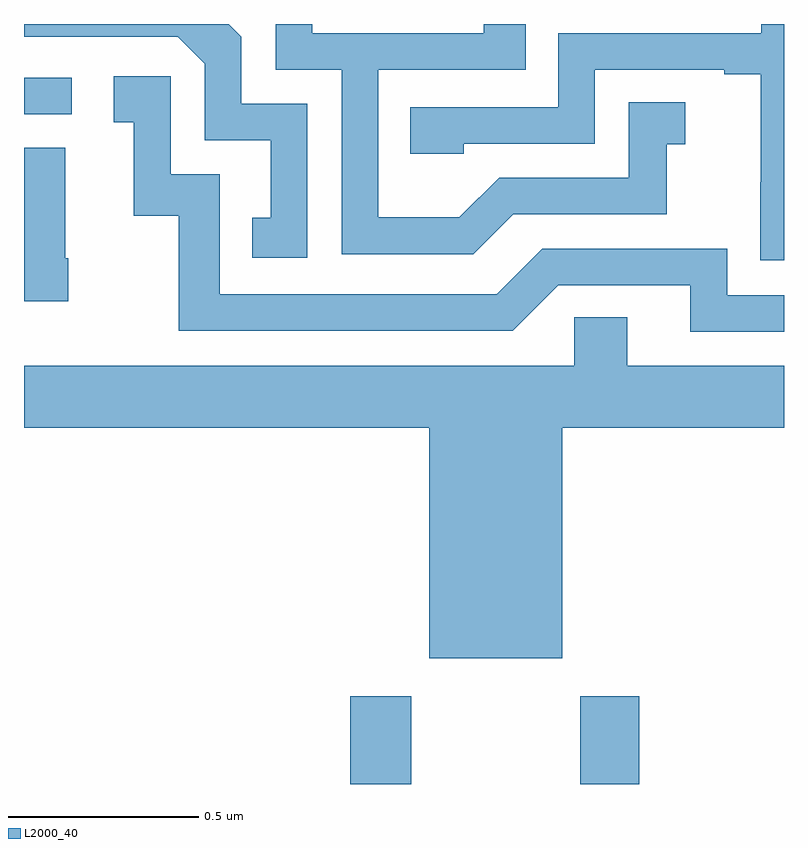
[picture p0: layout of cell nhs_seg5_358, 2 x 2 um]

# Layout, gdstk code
import gdstk
lib = gdstk.Library(unit=1e-6, precision=1e-09)
def R(c, l, rs):  # rectangles x0, y0, x1, y1
    for r in rs: c.add(gdstk.rectangle(r[:2], r[2:], *l))
def P(c, l, *ps):  # polygons
    for p in ps: c.add(gdstk.Polygon(p, *l))
L2000_40 = (2000, 40)

nhs_seg5_358 = lib.new_cell('nhs_seg5_358')
R(nhs_seg5_358, L2000_40, [(115.859,879.799,116.019,880.03), (116.464,879.799,116.619,880.03), (115,881.562,115.126,881.658)])
P(nhs_seg5_358, L2000_40, [(117,881.799),(116.94,881.799),(116.94,881.775),(116.406,881.775),(116.406,881.58),(116.017,881.58),(116.017,881.457),(116.157,881.457),(116.157,881.484),(116.502,881.484),(116.502,881.679),(116.843,881.679),(116.843,881.667),(116.939,881.667),(116.939,881.383),(116.938,881.383),(116.938,881.177),(117,881.177)],
  [(115.746,881.589),(115.572,881.589),(115.572,881.766),(115.539,881.799),(115,881.799),(115,881.766),(115.404,881.766),(115.476,881.694),(115.476,881.493),(115.649,881.493),(115.649,881.289),(115.6,881.289),(115.6,881.184),(115.746,881.184)],
  [(116.287,881.298),(116.691,881.298),(116.691,881.483),(116.74,881.483),(116.74,881.593),(116.592,881.593),(116.592,881.394),(116.25,881.394),(116.146,881.29),(115.932,881.29),(115.932,881.679),(116.321,881.679),(116.321,881.799),(116.21,881.799),(116.21,881.775),(115.759,881.775),(115.759,881.799),(115.662,881.799),(115.662,881.679),(115.836,881.679),(115.836,881.193),(116.182,881.193)],
  [(117,881.085),(116.85,881.085),(116.85,881.208),(116.364,881.208),(116.244,881.088),(115.515,881.088),(115.515,881.403),(115.386,881.403),(115.386,881.662),(115.236,881.662),(115.236,881.541),(115.289,881.541),(115.289,881.295),(115.407,881.295),(115.407,880.992),(116.286,880.992),(116.406,881.112),(116.753,881.112),(116.753,880.989),(117,880.989)],
  [(115.116,881.182),(115.108,881.182),(115.108,881.473),(115,881.473),(115,881.07),(115.116,881.07)],
  [(116.416,880.736),(117,880.736),(117,880.9),(116.587,880.9),(116.587,881.027),(116.448,881.027),(116.448,880.9),(115,880.9),(115,880.736),(116.066,880.736),(116.066,880.13),(116.416,880.13)])

lib.write_gds('nhs_seg5_358.gds')
